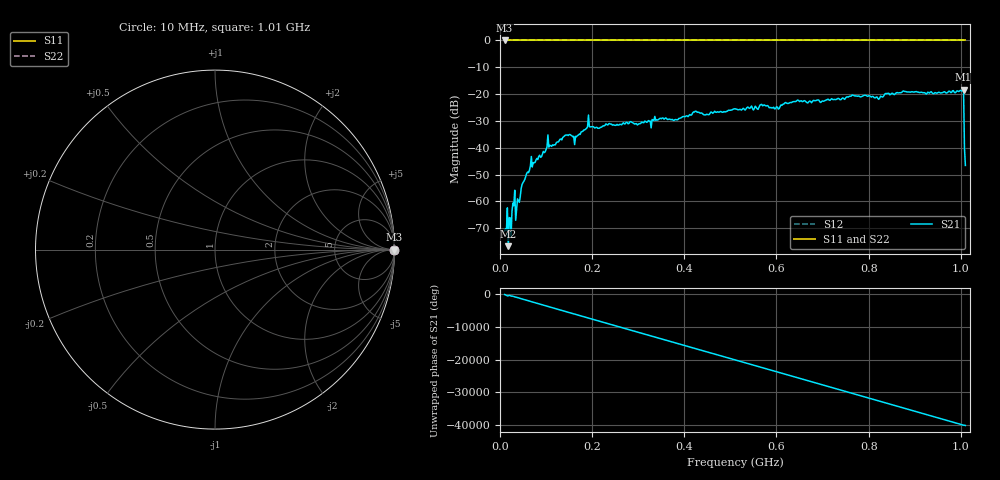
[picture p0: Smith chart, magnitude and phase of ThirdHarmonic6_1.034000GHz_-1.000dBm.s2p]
! 8/16/2025 8:53:00 AM
! C:\ANRITSUVNA\TEMP\TEMP.S2P
! CHANNEL.1
! TR.MEASUREMENT
! RAW.DATA
! RF.CORRECTION.OFF
! AVERAGING.OFF
! IF.BANDWIDTH: 5KHZ
! SWEEPTYPE:  FREQ.SWEEP(Linear)
! Reference Plane Port Info
! PORT:  PORT1  PORT2
! DISTANCE:  0  m  0  m
! TIME:  0  s  0  s
! PHASE.OFFSET:  0  deg.  0  deg.
! LOSS:  0  dB  0  dB
! REF.LOSS:  0  dB  0  dB
! REF.FREQ:  0  Hz  0  Hz
! Power Info
! POWER:  -20  dBm  -20  dBm
! EFF.POWER:  -20  dBm  -20  dBm
! SOURCE.ATTEN:  0  dB  0  dB
! TEST.ATTEN:  0  dB  0  dB
# GHZ S RI R 50.0
! FREQ.GHZ  S11RE  S11IM  S21RE  S21IM  S12RE  S12IM  S22RE  S22IM
!; PortSelection: Port_12
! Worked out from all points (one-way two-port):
!   501 points, 10 MHz to 1.01 GHz, reference 50 ohm
!   highest |S21| = -18.36 dB at 1.006 GHz (marker M1); lowest = -76.7 dB at 18 MHz (marker M2)
!   lowest |S11| = 0.0 dB at 10 MHz (marker M3)
!   |S11| at or under -10 dB: nowhere
!   |S22| runs from 0.0 to 0.0 dB; largest |S21 - S12| = 1.1
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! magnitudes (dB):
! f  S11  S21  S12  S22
! 10 MHz  0.0  -71.0  0.0  0.0
! 18 MHz  0.0  -76.7  0.0  0.0
! 22 MHz  0.0  -66.1  0.0  0.0
! 24 MHz  0.0  -72.9  0.0  0.0
! 30 MHz  0.0  -61.6  0.0  0.0
! 38 MHz  0.0  -59.0  0.0  0.0
! 50 MHz  0.0  -53.0  0.0  0.0
! 70 MHz  0.0  -47.2  0.0  0.0
! 106 MHz  0.0  -39.7  0.0  0.0
! 116 MHz  0.0  -39.1  0.0  0.0
! 146 MHz  0.0  -35.2  0.0  0.0
! 166 MHz  0.0  -35.9  0.0  0.0
! 178 MHz  0.0  -34.0  0.0  0.0
! 194 MHz  0.0  -32.1  0.0  0.0
! 216 MHz  0.0  -32.7  0.0  0.0
! 344 MHz  0.0  -29.5  0.0  0.0
! 510 MHz  0.0  -25.5  0.0  0.0
! 678 MHz  0.0  -22.7  0.0  0.0
! 844 MHz  0.0  -19.7  0.0  0.0
! 1.002 GHz  0.0  -18.8  0.0  0.0
! 1.006 GHz  0.0  -18.4  0.0  0.0
! 1.01 GHz  0.0  -46.6  0.0  0.0
